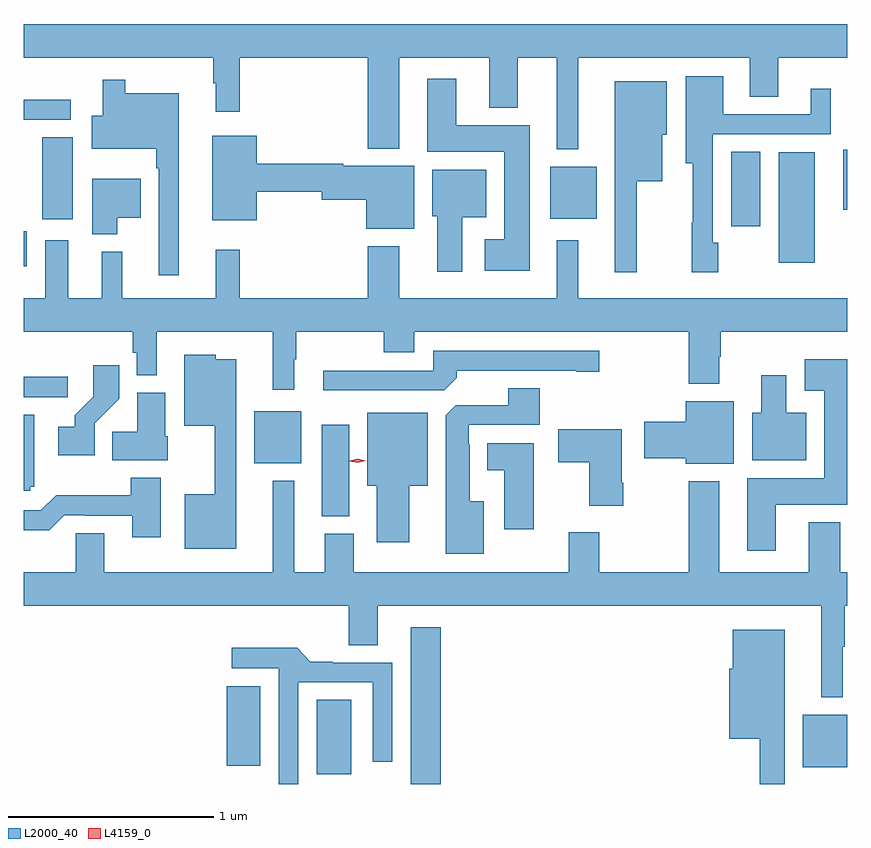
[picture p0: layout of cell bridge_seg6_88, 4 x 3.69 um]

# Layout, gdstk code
import gdstk
lib = gdstk.Library(unit=1e-6, precision=1e-09)
def R(c, l, rs):  # rectangles x0, y0, x1, y1
    for r in rs: c.add(gdstk.rectangle(r[:2], r[2:], *l))
def P(c, l, *ps):  # polygons
    for p in ps: c.add(gdstk.Polygon(p, *l))
L2000_40 = (2000, 40)
L4159_0 = (4159, 0)

bridge_seg6_88 = lib.new_cell('bridge_seg6_88')
R(bridge_seg6_88, L2000_40, [(816.476,987.763,816.623,988.525), (816.02,987.81,816.187,988.172), (818.381,987.845,818.597,988.099), (815.582,987.851,815.746,988.237), (816.044,989.065,816.178,989.509), (815.717,989.321,815.944,989.575), (814.597,989.643,814.81,989.742), (814.597,990.278,814.612,990.45), (818.264,990.296,818.44,990.832), (818.033,990.474,818.176,990.836), (814.685,990.507,814.834,990.905), (817.154,990.509,817.381,990.763), (818.579,990.554,818.597,990.844), (814.597,990.99,814.825,991.088)])
P(bridge_seg6_88, L2000_40, [(817.291,991.292),(818.123,991.292),(818.123,991.102),(818.263,991.102),(818.263,991.292),(818.597,991.292),(818.597,991.456),(814.597,991.456),(814.597,991.292),(815.517,991.292),(815.517,991.169),(815.528,991.169),(815.528,991.029),(815.645,991.029),(815.645,991.292),(816.269,991.292),(816.269,990.851),(816.421,990.851),(816.421,991.292),(816.857,991.292),(816.857,991.049),(816.997,991.049),(816.997,991.292),(817.187,991.292),(817.187,990.848),(817.291,990.848)],
  [(817.971,990.393),(817.944,990.393),(817.944,990.921),(818.518,990.921),(818.518,991.141),(818.42,991.141),(818.42,991.017),(817.996,991.017),(817.996,991.201),(817.814,991.201),(817.814,990.779),(817.847,990.779),(817.847,990.493),(817.843,990.493),(817.843,990.249),(817.971,990.249)],
  [(817.054,990.964),(816.697,990.964),(816.697,991.189),(816.557,991.189),(816.557,990.836),(816.932,990.836),(816.932,990.409),(816.837,990.409),(816.837,990.257),(817.054,990.257)],
  [(815.35,991.12),(815.089,991.12),(815.089,991.186),(814.979,991.186),(814.979,991.009),(814.926,991.009),(814.926,990.851),(815.241,990.851),(815.241,990.755),(815.253,990.755),(815.253,990.234),(815.35,990.234)],
  [(817.576,990.692),(817.699,990.692),(817.699,990.918),(817.72,990.918),(817.72,991.177),(817.469,991.177),(817.469,990.249),(817.576,990.249)],
  [(816.493,990.766),(816.148,990.766),(816.148,990.776),(815.728,990.776),(815.728,990.913),(815.513,990.913),(815.513,990.503),(815.728,990.503),(815.728,990.64),(816.044,990.64),(816.044,990.601),(816.26,990.601),(816.26,990.461),(816.493,990.461)],
  [(816.727,990.518),(816.844,990.518),(816.844,990.748),(816.581,990.748),(816.581,990.522),(816.605,990.522),(816.605,990.252),(816.727,990.252)],
  [(815.05,990.515),(815.164,990.515),(815.164,990.703),(814.928,990.703),(814.928,990.434),(815.05,990.434)],
  [(815.645,990.358),(815.528,990.358),(815.528,990.124),(815.075,990.124),(815.075,990.349),(814.976,990.349),(814.976,990.124),(814.813,990.124),(814.813,990.406),(814.7,990.406),(814.7,990.124),(814.597,990.124),(814.597,989.96),(815.125,989.96),(815.125,989.859),(815.145,989.859),(815.145,989.75),(815.242,989.75),(815.242,989.96),(815.807,989.96),(815.807,989.679),(815.911,989.679),(815.911,989.828),(815.921,989.828),(815.921,989.96),(816.346,989.96),(816.346,989.861),(816.493,989.861),(816.493,989.96),(817.828,989.96),(817.828,989.708),(817.975,989.708),(817.975,989.84),(817.983,989.84),(817.983,989.96),(818.597,989.96),(818.597,990.124),(817.291,990.124),(817.291,990.406),(817.187,990.406),(817.187,990.124),(816.421,990.124),(816.421,990.376),(816.269,990.376),(816.269,990.124),(815.645,990.124)],
  [(816.701,989.738),(816.701,989.772),(817.28,989.772),(817.28,989.767),(817.393,989.767),(817.393,989.868),(816.585,989.868),(816.585,989.772),(816.051,989.772),(816.051,989.676),(816.639,989.676)],
  [(815.629,989.827),(815.529,989.827),(815.529,989.848),(815.375,989.848),(815.375,989.504),(815.525,989.504),(815.525,989.17),(815.378,989.17),(815.378,988.907),(815.629,988.907)],
  [(818.251,989.12),(818.597,989.12),(818.597,989.827),(818.391,989.827),(818.391,989.675),(818.486,989.675),(818.486,989.248),(818.111,989.248),(818.111,988.896),(818.251,988.896)],
  [(814.941,989.515),(815.06,989.634),(815.06,989.797),(814.935,989.797),(814.935,989.645),(814.844,989.555),(814.844,989.5),(814.764,989.5),(814.764,989.36),(814.941,989.36)],
  [(818.398,989.566),(818.302,989.566),(818.302,989.749),(818.18,989.749),(818.18,989.566),(818.135,989.566),(818.135,989.336),(818.398,989.336)],
  [(816.832,989.137),(816.763,989.137),(816.763,989.411),(816.759,989.411),(816.759,989.508),(817.103,989.508),(817.103,989.687),(816.95,989.687),(816.95,989.604),(816.696,989.604),(816.647,989.555),(816.647,988.883),(816.832,988.883)],
  [(815.296,989.454),(815.284,989.454),(815.284,989.665),(815.147,989.665),(815.147,989.474),(815.026,989.474),(815.026,989.336),(815.296,989.336)],
  [(818.047,989.623),(817.814,989.623),(817.814,989.523),(817.611,989.523),(817.611,989.345),(817.814,989.345),(817.814,989.318),(818.047,989.318)],
  [(816.469,989.213),(816.559,989.213),(816.559,989.566),(816.266,989.566),(816.266,989.213),(816.311,989.213),(816.311,988.938),(816.469,988.938)],
  [(814.629,989.208),(814.648,989.208),(814.648,989.557),(814.597,989.557),(814.597,989.187),(814.629,989.187)],
  [(817.509,989.227),(817.501,989.227),(817.501,989.488),(817.194,989.488),(817.194,989.326),(817.343,989.326),(817.343,989.115),(817.509,989.115)],
  [(817.075,989.419),(816.848,989.419),(816.848,989.288),(816.932,989.288),(816.932,989.001),(817.075,989.001)],
  [(815.263,989.251),(815.116,989.251),(815.116,989.167),(814.753,989.167),(814.68,989.094),(814.597,989.094),(814.597,988.997),(814.721,988.997),(814.794,989.07),(814.894,989.07),(814.894,989.067),(815.123,989.067),(815.123,988.962),(815.263,988.962)],
  [(818.575,988.429),(818.585,988.429),(818.585,988.628),(818.597,988.628),(818.597,988.792),(818.564,988.792),(818.564,989.035),(818.411,989.035),(818.411,988.792),(817.975,988.792),(817.975,989.233),(817.828,989.233),(817.828,988.792),(817.392,988.792),(817.392,988.987),(817.244,988.987),(817.244,988.792),(816.199,988.792),(816.199,988.98),(816.059,988.98),(816.059,988.792),(815.911,988.792),(815.911,989.236),(815.807,989.236),(815.807,988.792),(814.987,988.792),(814.987,988.982),(814.848,988.982),(814.848,988.792),(814.597,988.792),(814.597,988.628),(816.176,988.628),(816.176,988.438),(816.316,988.438),(816.316,988.628),(818.471,988.628),(818.471,988.184),(818.575,988.184)],
  [(818.293,988.513),(818.042,988.513),(818.042,988.323),(818.024,988.323),(818.024,987.983),(818.172,987.983),(818.172,987.763),(818.293,987.763)],
  [(815.931,988.257),(816.291,988.257),(816.291,987.87),(816.387,987.87),(816.387,988.353),(816.097,988.353),(816.097,988.358),(815.989,988.358),(815.924,988.424),(815.607,988.424),(815.607,988.326),(815.835,988.326),(815.835,987.763),(815.931,987.763)])
P(bridge_seg6_88, L4159_0, [(816.22,989.323),(816.18,989.332),(816.18,989.332),(816.18,989.333),(816.219,989.343),(816.259,989.334),(816.259,989.333),(816.259,989.333)])

lib.write_gds('bridge_seg6_88.gds')
